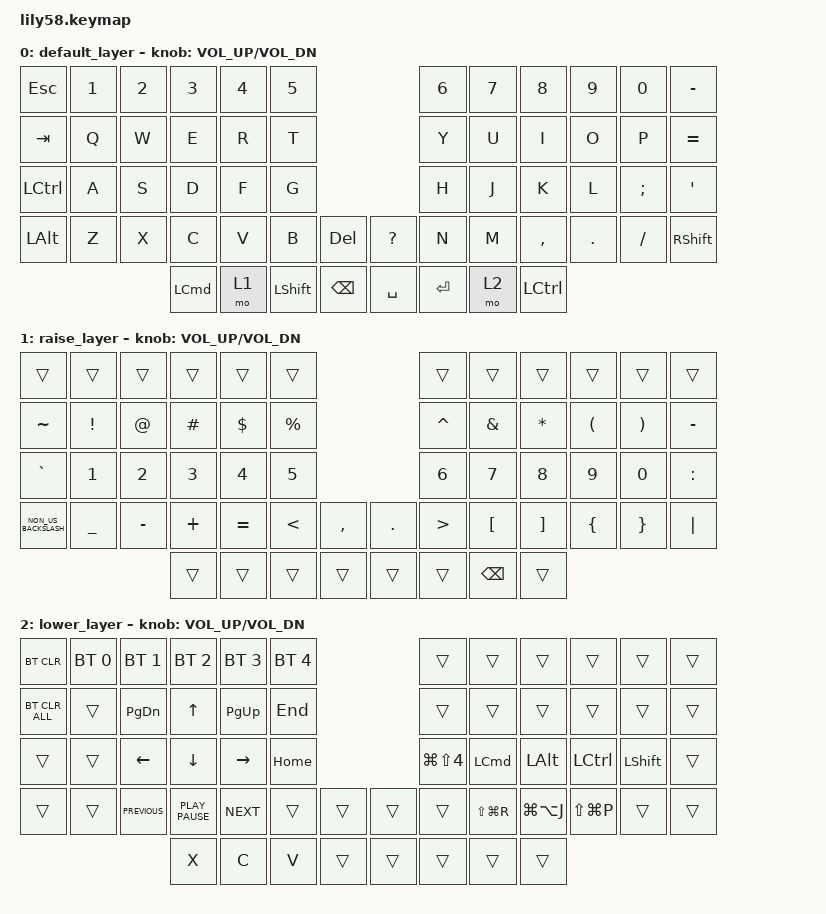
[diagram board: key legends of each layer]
/*
 * Copyright (c) 2020 The ZMK Contributors
 *
 * SPDX-License-Identifier: MIT
 */

#include <behaviors.dtsi>
#include <dt-bindings/zmk/bt.h>
#include <dt-bindings/zmk/keys.h>

/ {
    // Combo keys are a way to combine multiple keypresses to output a different key.

    combos {
        compatible = "zmk,combos";

        combo_clear_bluetooth {
            timeout-ms = <50>; // Press all the below keys within 50ms to activate mapping
            key-positions = <52 42 0>; // Press 52=LOWER, 42=[, 0=tilde
            bindings = <&bt BT_CLR>; // activate clear bluetooth bindings for current channel
        };
    };

    keymap {
        compatible = "zmk,keymap";

        default_layer {
            // ------------------------------------------------------------------------------------------------------------
            // |   `      |  1  |  2  |  3   |  4   |  5   |                   |  6   |  7    |  8    |  9   |   0   |   -   |
            // |  TAB     |  Q  |  W  |  E   |  R   |  T   |                   |  Y   |  U    |  I    |  O   |   P   |   =   |
            // |hCTRL tESC|  A  |  S  |  D   |  F   |  G   |                   |  H   |  J    |  K    |  L   |   ;   |   '   |
            // | SHIFT    |  Z  |  X  |  C   |  V   |  B   |   "["  |  |  "]"  |  N   |  M    |  ,    |  .   |   /   | SHIFT |
            //                        | ALT  | GUI  | LOWER|  SPACE |  | BSPC  | ENTER| RAISE | CTRL  |

            bindings = <
&kp ESCAPE        &kp N1  &kp N2  &kp N3            &kp N4  &kp N5                                         &kp N6     &kp N7  &kp N8            &kp N9   &kp N0         &kp MINUS
&kp TAB           &kp Q   &kp W   &kp E             &kp R   &kp T                                          &kp Y      &kp U   &kp I             &kp O    &kp P          &kp EQUAL
&kp LEFT_CONTROL  &kp A   &kp S   &kp D             &kp F   &kp G                                          &kp H      &kp J   &kp K             &kp L    &kp SEMICOLON  &kp SQT
&kp LEFT_ALT      &kp Z   &kp X   &kp C             &kp V   &kp B           &kp DELETE       &kp QUESTION  &kp N      &kp M   &kp COMMA         &kp DOT  &kp FSLH       &kp RIGHT_SHIFT
                                  &kp LEFT_COMMAND  &mo 1   &kp LEFT_SHIFT  &kp BACKSPACE    &kp SPACE     &kp ENTER  &mo 2   &kp LEFT_CONTROL
            >;

            sensor-bindings = <&inc_dec_kp C_VOL_UP C_VOL_DN>;
        };

        raise_layer {
            // ------------------------------------------------------------------------------------------------------------
            // |  F12    |  F1 |  F2 |  F3  |  F4  |  F5  |                   |  F6  |   F7  |   F8  |  F9  |  F10  |  F11  |
            // |   `     |  1  |  2  |  3   |  4   |  5   |                   |  6   |   7   |   8   |  9   |   0   |   -   |
            // |CTRL/ESC |     |     |      |      |      |                   |  <-  |   ^   |   v   |  ->  |       |       |
            // | SHIFT   |     |     |      |      |      |        |  |       |  +   |   -   |   =   |  [   |   ]   |   \   |
            //                       |      |      |      |        |  |       |      |       |       |

            bindings = <
&trans                &trans           &trans        &trans        &trans        &trans                                  &trans            &trans            &trans             &trans                &trans                 &trans
&kp TILDE             &kp EXCLAMATION  &kp AT_SIGN   &kp HASH      &kp DOLLAR    &kp PERCENT                             &kp CARET         &kp AMPERSAND     &kp ASTERISK       &kp LEFT_PARENTHESIS  &kp RIGHT_PARENTHESIS  &kp MINUS
&kp GRAVE             &kp NUMBER_1     &kp NUMBER_2  &kp NUMBER_3  &kp NUMBER_4  &kp N5                                  &kp NUMBER_6      &kp N7            &kp N8             &kp N9                &kp N0                 &kp COLON
&kp NON_US_BACKSLASH  &kp UNDERSCORE   &kp MINUS     &kp PLUS      &kp EQUAL     &kp LESS_THAN  &kp COMMA    &kp PERIOD  &kp GREATER_THAN  &kp LEFT_BRACKET  &kp RIGHT_BRACKET  &kp LEFT_BRACE        &kp RIGHT_BRACE        &kp PIPE
                                                     &trans        &trans        &trans         &trans       &trans      &trans            &kp BACKSPACE     &trans
            >;

            sensor-bindings = <&inc_dec_kp C_VOL_UP C_VOL_DN>;
        };

        lower_layer {
            // ------------------------------------------------------------------------------------------------------------
            // | EXT PWR TOGGLE | BT1     | BT2    |  BT3 |  BT4  |  BT5 |                    |      |       |       |      |       |       |
            // |                |         |        |      |       |      |                    |      |       |       |      |       |   \   |
            // |   ~            |  !      |  @     |  #   |  $    |  %   |                    |  ^   |  &    |  *    |  (   |   )   |   _   |
            // | SHIFT          |  EP_ON  | EP_OFF |      |  (    |  {   |       |  |   DEL   |  }   |  )    |  +    |  {   |   }   | SHIFT |
            //                                     |      |       |      |       |  |         |      |       |       |

            bindings = <
&bt BT_CLR      &bt BT_SEL 0  &bt BT_SEL 1    &bt BT_SEL 2      &bt BT_SEL 3  &bt BT_SEL 4                    &trans                &trans            &trans         &trans         &trans          &trans
&bt BT_CLR_ALL  &trans        &kp PG_DN       &kp UP_ARROW      &kp PG_UP     &kp END                         &trans                &trans            &trans         &trans         &trans          &trans
&trans          &trans        &kp LEFT        &kp DOWN          &kp RIGHT     &kp HOME                        &kp LG(LS(NUMBER_4))  &kp LEFT_COMMAND  &kp LALT       &kp LCTRL      &kp LEFT_SHIFT  &trans
&trans          &trans        &kp K_PREVIOUS  &kp K_PLAY_PAUSE  &kp K_NEXT    &trans        &trans    &trans  &trans                &kp LS(LG(R))     &kp LG(LA(J))  &kp LS(LG(P))  &trans          &trans
                                              &kp X             &kp C         &kp V         &trans    &trans  &trans                &trans            &trans
            >;

            sensor-bindings = <&inc_dec_kp C_VOL_UP C_VOL_DN>;
        };
    };
};
